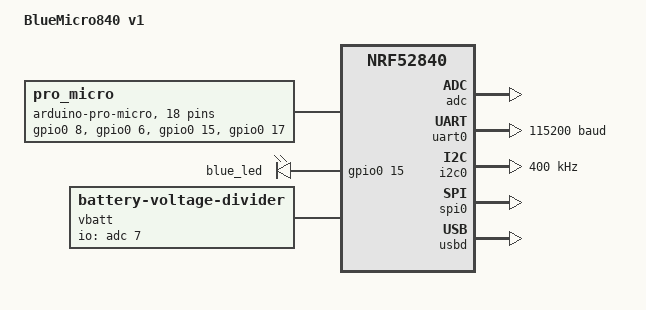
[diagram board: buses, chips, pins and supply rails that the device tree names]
/*
 * Copyright (c) 2024 The ZMK Contributors
 * SPDX-License-Identifier: MIT
 */

/dts-v1/;
#include <nordic/nrf52840_qiaa.dtsi>
#include "bluemicro840_v1-pinctrl.dtsi"

/ {
    model = "BlueMicro840 v1";
    compatible = "bluemicro,840_v1";

    chosen {
        zephyr,code-partition = &code_partition;
        zephyr,sram = &sram0;
        zephyr,flash = &flash0;
        zephyr,console = &cdc_acm_uart;
        zephyr,bt-uart = &uart0;
        zmk,battery = &vbatt;
    };

    pro_micro: connector {
        compatible = "arduino-pro-micro";
        #gpio-cells = <2>;
        gpio-map-mask = <0xffffffff 0xffffffc0>;
        gpio-map-pass-thru = <0 0x3f>;
        gpio-map
            = <0 0 &gpio0 8 0>  /* D0 */
            , <1 0 &gpio0 6 0>  /* D1 */
            , <2 0 &gpio0 15 0> /* D2 */
            , <3 0 &gpio0 17 0> /* D3 */
            , <4 0 &gpio0 20 0> /* D4/A6 */
            , <5 0 &gpio0 13 0> /* D5 */
            , <6 0 &gpio0 24 0> /* D6/A7 */
            , <7 0 &gpio0 9 0>  /* D7 */
            , <8 0 &gpio0 10 0> /* D8/A8 */
            , <9 0 &gpio1 6 0>  /* D9/A9 */
            , <10 0 &gpio1 11 0> /* D10/A10 */
            , <16 0 &gpio0 28 0> /* D16 */
            , <14 0 &gpio0 3 0> /* D14 */
            , <15 0 &gpio1 13 0> /* D15 */
            , <18 0 &gpio0 2 0>  /* D18/A0 */
            , <19 0 &gpio0 29 0> /* D19/A1 */
            , <20 0 &gpio0 31 0> /* D20/A2 */
            , <21 0 &gpio0 30 0> /* D21/A3 */
            ;
    };

    leds {
        compatible = "gpio-leds";
        blue_led: led_0 {
            gpios = <&gpio0 15 GPIO_ACTIVE_HIGH>;
        };
    };

    vbatt: vbatt {
        compatible = "zmk,battery-voltage-divider";
        io-channels = <&adc 7>;
        output-ohms = <2000000>;
        full-ohms = <(2000000 + 806000)>;
    };
};

&adc {
    status = "okay";
};

&gpiote {
    status = "okay";
};

&gpio0 {
    status = "okay";
};

&gpio1 {
    status = "okay";
};

&uart0 {
    compatible = "nordic,nrf-uart";
    status = "okay";
    current-speed = <115200>;
    pinctrl-0 = <&uart0_default>;
    pinctrl-1 = <&uart0_sleep>;
    pinctrl-names = "default", "sleep";
};

&i2c0 {
    compatible = "nordic,nrf-twim";
    status = "okay";
    clock-frequency = <400000>;
    segment-offset = <0>;
    pinctrl-0 = <&i2c0_default>;
    pinctrl-1 = <&i2c0_sleep>;
    pinctrl-names = "default", "sleep";
};

&spi0 {
    compatible = "nordic,nrf-spi";
    status = "okay";
    pinctrl-0 = <&spi0_default>;
    pinctrl-1 = <&spi0_sleep>;
    pinctrl-names = "default", "sleep";
};

&usbd {
    status = "okay";
    cdc_acm_uart: cdc_acm_uart {
        compatible = "zephyr,cdc-acm-uart";
    };
};

&flash0 {
    partitions {
        compatible = "fixed-partitions";
        #address-cells = <1>;
        #size-cells = <1>;

        sd_partition: partition@0 {
            label = "softdevice";
            reg = <0x00000000 0x00026000>;
        };
        code_partition: partition@26000 {
            label = "code_partition";
            reg = <0x00026000 0x000c6000>;
        };

        storage_partition: partition@ec000 {
            label = "storage";
            reg = <0x000ec000 0x00008000>;
        };

        boot_partition: partition@f4000 {
            label = "adafruit_boot";
            reg = <0x000f4000 0x0000c000>;
        };
    };
};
